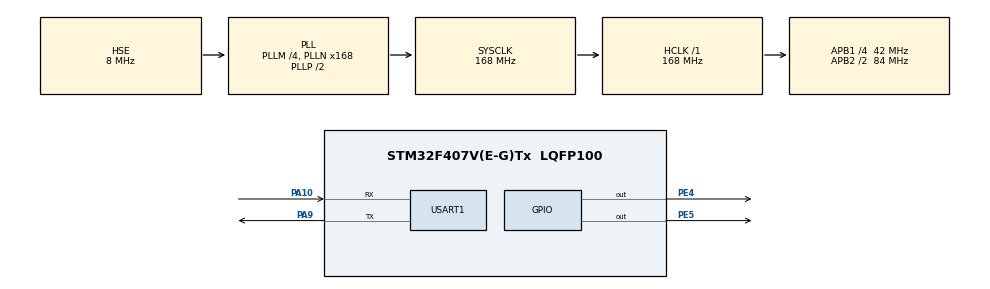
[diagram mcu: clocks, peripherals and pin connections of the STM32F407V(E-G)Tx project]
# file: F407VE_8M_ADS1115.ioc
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Mcu.Family=STM32F4
Mcu.Name=STM32F407V(E-G)Tx
Mcu.Package=LQFP100
NVIC.PriorityGroup=NVIC_PRIORITYGROUP_4
NVIC.USART1_IRQn=true\:0\:0\:false\:false\:true\:true\:true
PA10.Mode=Asynchronous
PA10.Signal=USART1_RX
PA13.Mode=Serial_Wire
PA13.Signal=SYS_JTMS-SWDIO
PA14.Mode=Serial_Wire
PA14.Signal=SYS_JTCK-SWCLK
PA9.Mode=Asynchronous
PA9.Signal=USART1_TX
PC14-OSC32_IN.Mode=LSE-External-Oscillator
PC14-OSC32_IN.Signal=RCC_OSC32_IN
PC15-OSC32_OUT.Mode=LSE-External-Oscillator
PC15-OSC32_OUT.Signal=RCC_OSC32_OUT
PE4.GPIO_ModeDefaultOutputPP=GPIO_MODE_OUTPUT_PP
PE4.GPIO_PuPd=GPIO_PULLUP
PE4.GPIO_Speed=GPIO_SPEED_FREQ_VERY_HIGH
PE4.PinState=GPIO_PIN_SET
PE4.Signal=GPIO_Output
PE5.GPIO_ModeDefaultOutputPP=GPIO_MODE_OUTPUT_PP
PE5.GPIO_PuPd=GPIO_PULLUP
PE5.GPIO_Speed=GPIO_SPEED_FREQ_VERY_HIGH
PE5.PinState=GPIO_PIN_SET
PE5.Signal=GPIO_Output
PH0-OSC_IN.Mode=HSE-External-Oscillator
PH0-OSC_IN.Signal=RCC_OSC_IN
PH1-OSC_OUT.Mode=HSE-External-Oscillator
PH1-OSC_OUT.Signal=RCC_OSC_OUT
ProjectManager.HeapSize=0x200
ProjectManager.StackSize=0x400
ProjectManager.TargetToolchain=MDK-ARM V5.27
RCC.48MHZClocksFreq_Value=84000000
RCC.AHBFreq_Value=168000000
RCC.APB1CLKDivider=RCC_HCLK_DIV4
RCC.APB1Freq_Value=42000000
RCC.APB1TimFreq_Value=84000000
RCC.APB2CLKDivider=RCC_HCLK_DIV2
RCC.APB2Freq_Value=84000000
RCC.APB2TimFreq_Value=168000000
RCC.CortexFreq_Value=168000000
RCC.HCLKFreq_Value=168000000
RCC.HSE_VALUE=8000000
RCC.HSI_VALUE=16000000
RCC.PLLM=4
RCC.PLLN=168
RCC.PLLSourceVirtual=RCC_PLLSOURCE_HSE
RCC.SYSCLKFreq_VALUE=168000000
RCC.SYSCLKSource=RCC_SYSCLKSOURCE_PLLCLK
RCC.VCOOutputFreq_Value=336000000
USART1.VirtualMode=VM_ASYNC
board=custom

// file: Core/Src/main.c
/* USER CODE BEGIN Header */
/**
  ******************************************************************************
  * @file           : main.c
  * @brief          : Main program body
  ******************************************************************************
  * @attention
  *
  * <h2><center>&copy; Copyright (c) 2021 STMicroelectronics.
  * All rights reserved.</center></h2>
  *
  * This software component is licensed by ST under BSD 3-Clause license,
  * the "License"; You may not use this file except in compliance with the
  * License. You may obtain a copy of the License at:
  *                        opensource.org/licenses/BSD-3-Clause
  *
  ******************************************************************************
  */
/* USER CODE END Header */
#include "main.h"
#include "usart.h"
#include "gpio.h"

/* USER CODE BEGIN Includes */
#include "DELAY/delay.h"
#include "USART/myusart1.h"
#include "ADS1115/ads1115.h"
#include <stdio.h>
/* USER CODE END Includes */

void SystemClock_Config(void);

int main(void)
{
  /* USER CODE BEGIN 1 */
  uint16_t val, conf = 0;
  /* USER CODE END 1 */

  /* MCU Configuration--------------------------------------------------------*/

  /* Reset of all peripherals, Initializes the Flash interface and the Systick. */
  HAL_Init();

  /* Configure the system clock */
  SystemClock_Config();

  /* Initialize all configured peripherals */
  MX_GPIO_Init();
  MX_USART1_UART_Init();
  /* USER CODE BEGIN 2 */
  Delay_Init(168);
  MyUSART1_Init(&huart1);
  ADS1115_Init(GPIOC, 0, GPIOC, 1);
  printf("ADS1115 Test\r\n");
  printf("ReadConf: %d, 0x%x\r\n", ADS1115_ReadConf(&val), val);
  ADS1115_SetMode(ADS1115_CONF_MODE_CONTINUOUS);
  ADS1115_SetDataRate(ADS1115_CONF_DR_64);
  ADS1115_SetPGA(ADS1115_CONF_PGA_6144);
  ADS1115_SetMux(ADS1115_CONF_MUX_3G);
  ADS1115_Start();
  Delay_us(val);
  Delay_ms(1);
  /* USER CODE END 2 */

  /* Infinite loop */
  while (1)
  {

    /* USER CODE BEGIN 3 */
    Delay_ms(500);
    ADS1115_ReadVal(&val);
    printf("%d, %lf\r\n", val, val*(6.144*2.0/65536));
  }
  /* USER CODE END 3 */
}

void SystemClock_Config(void)
{
  RCC_OscInitTypeDef RCC_OscInitStruct = {0};
  RCC_ClkInitTypeDef RCC_ClkInitStruct = {0};

  /** Configure the main internal regulator output voltage
  */
  __HAL_RCC_PWR_CLK_ENABLE();
  __HAL_PWR_VOLTAGESCALING_CONFIG(PWR_REGULATOR_VOLTAGE_SCALE1);
  /** Initializes the RCC Oscillators according to the specified parameters
  * in the RCC_OscInitTypeDef structure.
  */
  RCC_OscInitStruct.OscillatorType = RCC_OSCILLATORTYPE_HSE;
  RCC_OscInitStruct.HSEState = RCC_HSE_ON;
  RCC_OscInitStruct.PLL.PLLState = RCC_PLL_ON;
  RCC_OscInitStruct.PLL.PLLSource = RCC_PLLSOURCE_HSE;
  RCC_OscInitStruct.PLL.PLLM = 4;
  RCC_OscInitStruct.PLL.PLLN = 168;
  RCC_OscInitStruct.PLL.PLLP = RCC_PLLP_DIV2;
  RCC_OscInitStruct.PLL.PLLQ = 4;
  if (HAL_RCC_OscConfig(&RCC_OscInitStruct) != HAL_OK)
  {
    Error_Handler();
  }
  /** Initializes the CPU, AHB and APB buses clocks
  */
  RCC_ClkInitStruct.ClockType = RCC_CLOCKTYPE_HCLK|RCC_CLOCKTYPE_SYSCLK
                              |RCC_CLOCKTYPE_PCLK1|RCC_CLOCKTYPE_PCLK2;
  RCC_ClkInitStruct.SYSCLKSource = RCC_SYSCLKSOURCE_PLLCLK;
  RCC_ClkInitStruct.AHBCLKDivider = RCC_SYSCLK_DIV1;
  RCC_ClkInitStruct.APB1CLKDivider = RCC_HCLK_DIV4;
  RCC_ClkInitStruct.APB2CLKDivider = RCC_HCLK_DIV2;

  if (HAL_RCC_ClockConfig(&RCC_ClkInitStruct, FLASH_LATENCY_5) != HAL_OK)
  {
    Error_Handler();
  }
}

void Error_Handler(void)
{
  __disable_irq();
  while (1)
  {
  }
}

/************************ (C) COPYRIGHT STMicroelectronics *****END OF FILE****/
